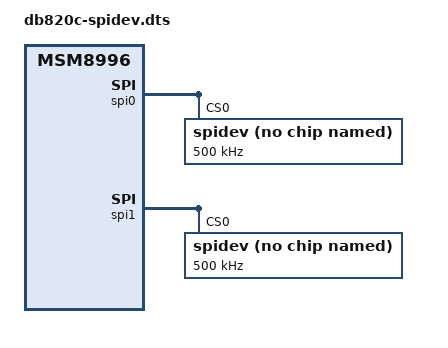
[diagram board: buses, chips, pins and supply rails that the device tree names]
/dts-v1/;
/plugin/;
/ {
	compatible = "qcom,msm8996";

	/* On Low speed expansion header */
	fragment@0 {
		target-path = "spi0";
		__overlay__ {
			spidev@0 {
				compatible = "spidev";
				spi-max-frequency = <500000>;
				reg = <0>;
			};
		};
	};

	/* On High speed expansion header */
	fragment@1 {
		target-path = "spi1";
		__overlay__ {
			spidev@0 {
				compatible = "spidev";
				spi-max-frequency = <500000>;
				reg = <0>;
			};
		};
	};
};
